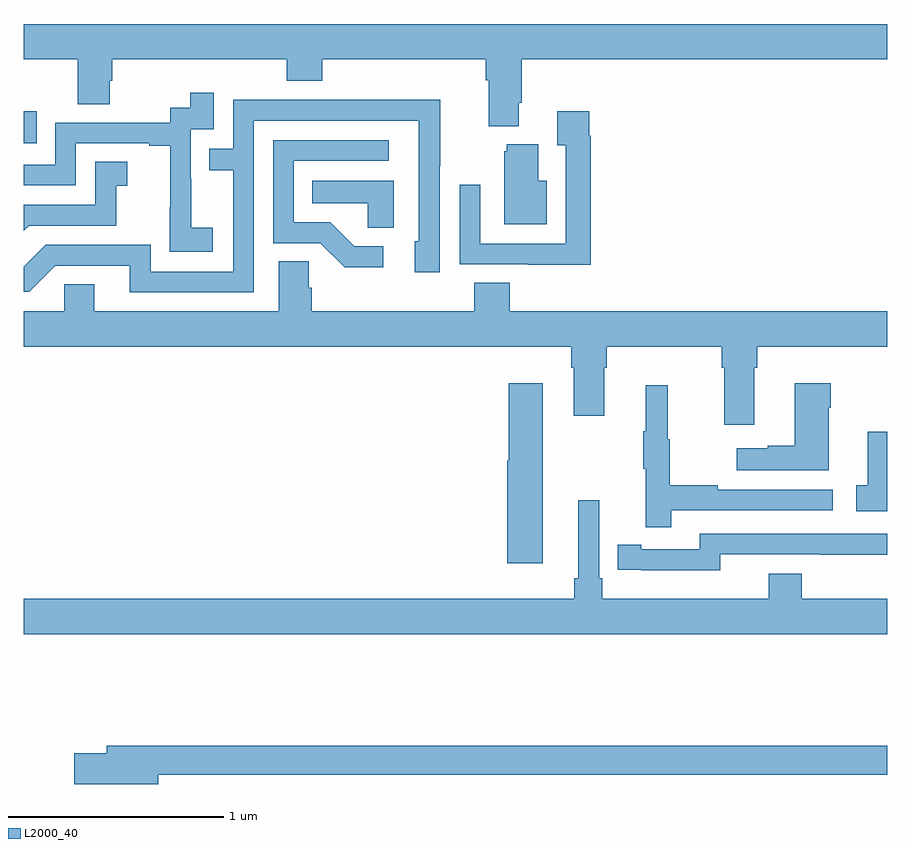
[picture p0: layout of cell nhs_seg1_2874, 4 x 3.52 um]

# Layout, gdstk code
import gdstk
lib = gdstk.Library(unit=1e-6, precision=1e-09)
def R(c, l, rs):  # rectangles x0, y0, x1, y1
    for r in rs: c.add(gdstk.rectangle(r[:2], r[2:], *l))
def P(c, l, *ps):  # polygons
    for p in ps: c.add(gdstk.Polygon(p, *l))
L2000_40 = (2000, 40)

nhs_seg1_2874 = lib.new_cell('nhs_seg1_2874')
R(nhs_seg1_2874, L2000_40, [(267,535.359,267.059,535.507)])
P(nhs_seg1_2874, L2000_40, [(269.293,535.546),(269.306,535.546),(269.306,535.748),(271,535.748),(271,535.912),(267,535.912),(267,535.748),(267.25,535.748),(267.25,535.54),(267.397,535.54),(267.397,535.65),(267.41,535.65),(267.41,535.748),(268.217,535.748),(268.217,535.649),(268.382,535.649),(268.382,535.748),(269.141,535.748),(269.141,535.652),(269.153,535.652),(269.153,535.439),(269.293,535.439)],
  [(267.874,534.967),(267.776,534.967),(267.776,535.196),(267.774,535.196),(267.774,535.425),(267.879,535.425),(267.879,535.594),(267.771,535.594),(267.771,535.524),(267.678,535.524),(267.678,535.455),(267.144,535.455),(267.144,535.26),(267,535.26),(267,535.164),(267.24,535.164),(267.24,535.359),(267.581,535.359),(267.581,535.347),(267.677,535.347),(267.677,535.063),(267.676,535.063),(267.676,534.857),(267.874,534.857)],
  [(268.065,535.464),(268.83,535.464),(268.83,534.906),(268.811,534.906),(268.811,534.762),(268.926,534.762),(268.926,535.255),(268.929,535.255),(268.929,535.562),(268.465,535.562),(268.465,535.56),(267.969,535.56),(267.969,535.335),(267.859,535.335),(267.859,535.234),(267.969,535.234),(267.969,534.765),(267.588,534.765),(267.588,534.888),(267.102,534.888),(267,534.786),(267,534.672),(267.024,534.672),(267.144,534.792),(267.491,534.792),(267.491,534.669),(268.065,534.669)],
  [(269.627,535.394),(269.62,535.394),(269.62,535.507),(269.471,535.507),(269.471,535.351),(269.511,535.351),(269.511,534.894),(269.115,534.894),(269.115,535.168),(269.019,535.168),(269.019,534.798),(269.335,534.798),(269.335,534.797),(269.627,534.797)],
  [(268.666,534.882),(268.531,534.882),(268.42,534.993),(268.251,534.993),(268.251,535.278),(268.69,535.278),(268.69,535.374),(268.155,535.374),(268.155,534.897),(268.374,534.897),(268.487,534.785),(268.666,534.785)],
  [(269.422,535.186),(269.383,535.186),(269.383,535.354),(269.237,535.354),(269.237,535.323),(269.225,535.323),(269.225,534.983),(269.422,534.983)],
  [(267.025,534.978),(267.429,534.978),(267.429,535.163),(267.478,535.163),(267.478,535.273),(267.33,535.273),(267.33,535.074),(267,535.074),(267,534.953)],
  [(268.714,535.186),(268.336,535.186),(268.336,535.082),(268.593,535.082),(268.593,534.967),(268.714,534.967)],
  [(270.385,534.32),(270.398,534.32),(270.398,534.416),(271,534.416),(271,534.58),(269.252,534.58),(269.252,534.713),(269.087,534.713),(269.087,534.58),(268.334,534.58),(268.334,534.689),(268.32,534.689),(268.32,534.812),(268.181,534.812),(268.181,534.58),(267.325,534.58),(267.325,534.707),(267.186,534.707),(267.186,534.58),(267,534.58),(267,534.416),(269.537,534.416),(269.537,534.32),(269.549,534.32),(269.549,534.096),(269.689,534.096),(269.689,534.32),(269.702,534.32),(269.702,534.416),(270.233,534.416),(270.233,534.32),(270.245,534.32),(270.245,534.054),(270.385,534.054)],
  [(270.73,534.134),(270.738,534.134),(270.738,534.247),(270.572,534.247),(270.572,533.957),(270.446,533.957),(270.446,533.947),(270.303,533.947),(270.303,533.843),(270.73,533.843)],
  [(269.404,534.247),(269.246,534.247),(269.246,533.889),(269.24,533.889),(269.24,533.412),(269.404,533.412)],
  [(269.999,533.658),(270.748,533.658),(270.748,533.754),(270.215,533.754),(270.215,533.774),(269.992,533.774),(269.992,533.988),(269.984,533.988),(269.984,534.238),(269.882,534.238),(269.882,534.025),(269.871,534.025),(269.871,533.851),(269.882,533.851),(269.882,533.58),(269.999,533.58)],
  [(271,534.022),(270.911,534.022),(270.911,533.775),(270.858,533.775),(270.858,533.655),(271,533.655)],
  [(271,533.248),(270.605,533.248),(270.605,533.365),(270.452,533.365),(270.452,533.248),(269.681,533.248),(269.681,533.344),(269.667,533.344),(269.667,533.704),(269.57,533.704),(269.57,533.344),(269.551,533.344),(269.551,533.248),(267,533.248),(267,533.084),(271,533.084)],
  [(270.228,533.454),(270.688,533.454),(270.688,533.453),(271,533.453),(271,533.55),(270.132,533.55),(270.132,533.478),(269.86,533.478),(269.86,533.498),(269.752,533.498),(269.752,533.382),(269.86,533.382),(269.86,533.381),(270.228,533.381)],
  [(267.622,532.432),(271,532.432),(271,532.568),(267.383,532.568),(267.383,532.532),(267.234,532.532),(267.234,532.39),(267.622,532.39)])

lib.write_gds('nhs_seg1_2874.gds')
